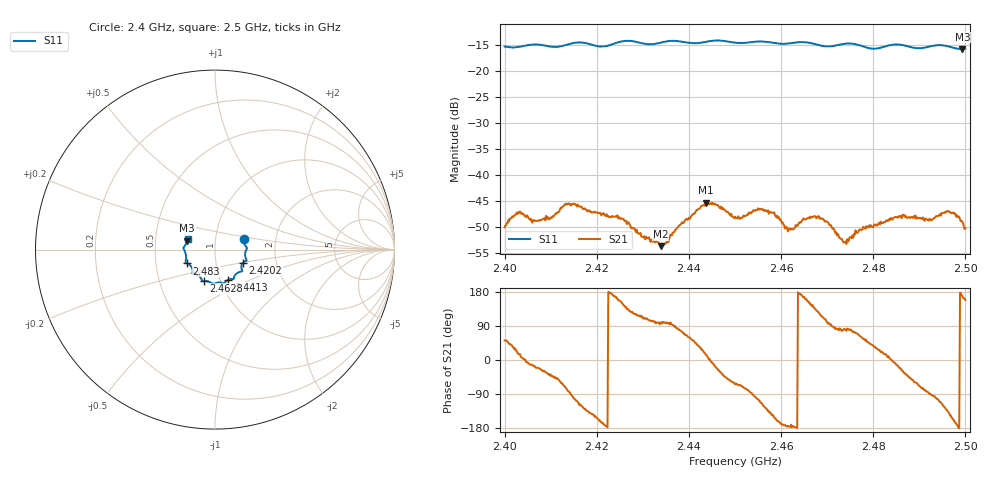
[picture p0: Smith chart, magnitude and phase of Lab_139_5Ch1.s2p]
# Hz S RI R 50
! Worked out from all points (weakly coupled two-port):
!   601 points, 2.4 GHz to 2.5 GHz, reference 50 ohm
!   highest |S21| = -45.29 dB at 2.4437 GHz (marker M1); lowest = -53.7 dB at 2.4338 GHz (marker M2)
!   lowest |S11| = -15.8 dB at 2.4993 GHz (marker M3), VSWR 1.39, Z = 36.5 + j3.68 ohm
!   |S11| at or under -10 dB: start of sweep to end of sweep
!   S12 and S22 are empty: the file has one direction only
!   S11 on the Smith chart (normalised r, x): 2.4 GHz: 1.37, +0.16; 2.4202 GHz: 1.35, -0.20; 2.4413 GHz: 1.09, -0.38; 2.4628 GHz: 0.83, -0.30; 2.483 GHz: 0.72, -0.11; 2.5 GHz: 0.73, +0.09
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2.4e9  0.1607 0.057  0.00196 0.00247  0 0  0 0
2.402833e9  0.1666 0.0269  0.00402 0.00128  0 0  0 0
2.4065e9  0.1786 0.00876  0.00354 -0.00101  0 0  0 0
2.4135e9  0.1711 -0.0473  0.00115 -0.00507  0 0  0 0
2.416667e9  0.1762 -0.0615  -0.00261 -0.00425  0 0  0 0
2.420167e9  0.1561 -0.0727  -0.00393 -0.00187  0 0  0 0
2.425333e9  0.151 -0.1166  -0.00341 0.00175  0 0  0 0
2.433333e9  0.1079 -0.1485  -0.000358 0.00223  0 0  0 0
2.433833e9  0.1065 -0.1523  -0.000337 0.00205  0 0  0 0
2.441333e9  0.0743 -0.1679  0.00301 0.00313  0 0  0 0
2.443667e9  0.0573 -0.1804  0.00528 0.00132  0 0  0 0
2.45e9  0.0292 -0.1837  0.00176 -0.00358  0 0  0 0
2.4555e9  -0.01 -0.191  -0.00175 -0.00434  0 0  0 0
2.462833e9  -0.0629 -0.1748  -0.00309 -0.00018  0 0  0 0
2.466667e9  -0.0744 -0.1677  -0.00314 0.00236  0 0  0 0
2.469667e9  -0.09 -0.1459  -0.00105 0.00347  0 0  0 0
2.474e9  -0.1231 -0.1342  0.000402 0.00227  0 0  0 0
2.483e9  -0.155 -0.0769  0.00356 0.000662  0 0  0 0
2.483333e9  -0.1571 -0.0759  0.0037 0.000638  0 0  0 0
2.496167e9  -0.1709 0.017  -0.00322 -0.00316  0 0  0 0
2.499333e9  -0.1543 0.0492  -0.0035 0.0007  0 0  0 0
2.5e9  -0.1526 0.0584  -0.00286 0.00113  0 0  0 0
